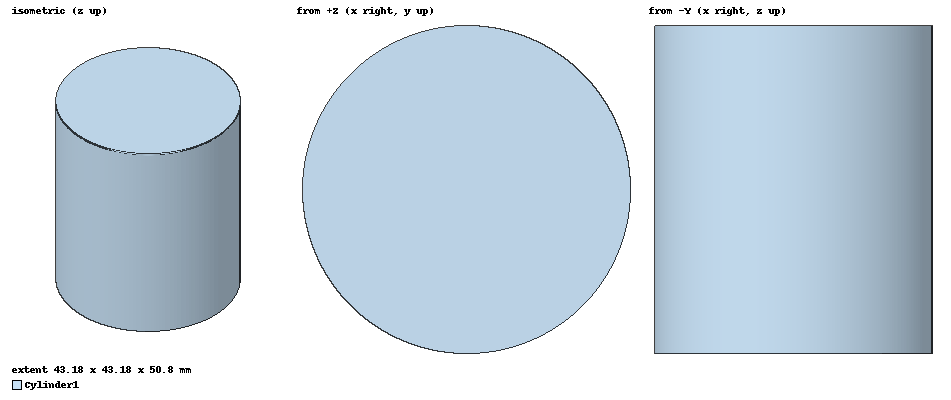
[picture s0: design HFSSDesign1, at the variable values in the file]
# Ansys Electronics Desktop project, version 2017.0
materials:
  vacuum: permittivity=1

design HFSSDesign1 (HFSS, Eigenmode, model units mm)
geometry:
  Cylinder1 [vacuum] = cylinder(axis=Z, base_centre=(0mm, 0mm, 0mm), radius=0.85in, height=2in)
  Cylinder2 = cylinder(axis=Z, base_centre=(0in, 0in, 0in), radius=0.05in, height=0.47in)
  Cylinder1.subtract(Cylinder2)
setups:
  Setup1: HfssEigen MinimumFrequency=2.95276GHz NumModes=5 MaxDeltaFreq=10 ConvergeOnRealFreq=false MaximumPasses=3 MinimumPasses=1 MinimumConvergedPasses=1 PercentRefinement=30 BasisOrder=1
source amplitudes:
  #-10:1: 1 0deg
  #-10:2..#-10:5: 0 0deg
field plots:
  Vector_E1: E Field in Cylinder1 on Setup1 : LastAdaptive at Phase=0deg
